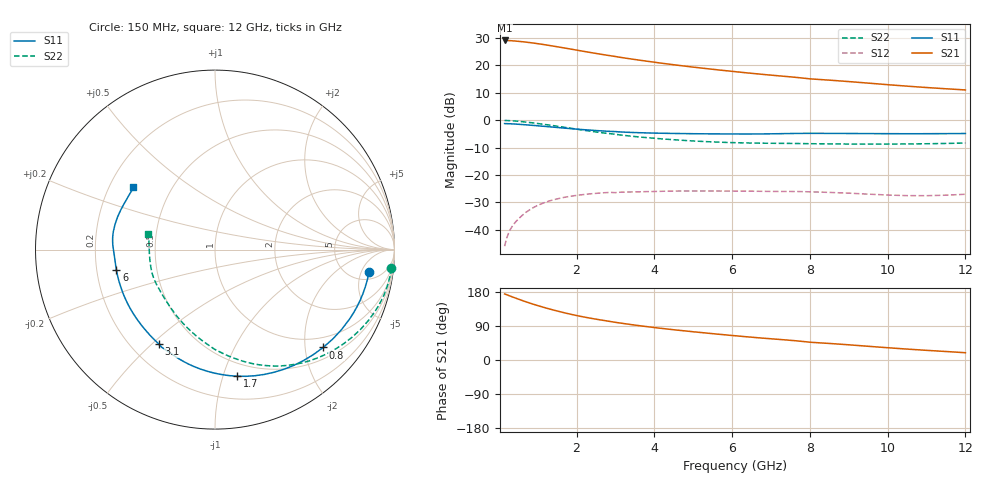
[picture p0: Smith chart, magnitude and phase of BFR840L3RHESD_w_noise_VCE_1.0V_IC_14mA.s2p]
! Infineon Technologies  Discrete & RF Semiconductors
! BFR840L3RHESD
! VCE =  1.0 V,  IC =  14 mA
! Common Emitter S-Parameters:  Jun 2012
# GHz  S  MA  R  50
!  f  S11  S21  S12  S22
! GHz  MAG  ANG  MAG  ANG  MAG  ANG  MAG  ANG
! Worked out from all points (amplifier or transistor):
!   91 points, 150 MHz to 12 GHz, reference 50 ohm
!   highest |S21| = 29.1 dB at 150 MHz (marker M1)
!   |S21| within 3 dB of that: start of sweep to 1.789 GHz
!   unconditionally stable (mu >= 1): 7.853 GHz to end of sweep
!   at 1.3 GHz: K = 0.15, MSG = 28.4 dB, |S12| = -29.5 dB
!   at 4.3 GHz: K = 0.50, MSG = 23.3 dB, |S12| = -25.9 dB
!   at 12 GHz: K = 1.91, MAG = 13.6 dB, |S12| = -27.1 dB
!   lowest NFmin = 0.86 dB at 450 MHz
!   S11 on the Smith chart (normalised r, x): 150 MHz: 6.84, -6.99; 800 MHz: 0.75, -2.40; 1.7 GHz: 0.38, -1.12; 3.1 GHz: 0.31, -0.53; 6 GHz: 0.28, -0.10; 12 GHz: 0.30, +0.31
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0.15  0.8672 -8.4  28.64 174.3  0.005 87.0  0.9887 -6.0
0.3  0.8599 -16.7  28.36 168.5  0.0102 82.8  0.9798 -12.7
0.45  0.8484 -24.6  27.84 162.7  0.0143 75.3  0.9632 -19.0
0.6  0.8341 -32.3  27.18 157.1  0.0182 69.6  0.9413 -24.9
0.8  0.8128 -42.1  26.16 150.1  0.0232 64.3  0.9073 -32.4
1  0.7908 -51.4  25.03 143.6  0.0278 60.2  0.8707 -39.5
1.2  0.769 -60.2  23.83 137.6  0.0317 56.1  0.8334 -46.2
1.4  0.7476 -68.5  22.61 132.0  0.0351 51.7  0.7959 -52.5
1.7  0.7164 -80.0  20.79 124.3  0.0392 45.3  0.7403 -61.2
1.9  0.6968 -87.1  19.64 119.6  0.0414 42.0  0.7043 -66.5
2.2  0.6704 -97.0  18.03 113.3  0.044 38.6  0.6539 -74.0
2.6  0.6409 -108.2  16.15 106.0  0.0467 34.5  0.5973 -82.8
3.1  0.6118 -120.8  14.16 97.9  0.0483 29.0  0.5398 -92.7
3.6  0.5917 -131.4  12.55 90.8  0.0492 25.4  0.4953 -101.5
4.2  0.5779 -142.3  10.98 83.3  0.0503 22.4  0.4557 -111.1
5  0.5669 -154.9  9.336 74.5  0.051 18.8  0.418 -123.0
6  0.561 -168.1  7.81 64.7  0.0508 15.7  0.3901 -136.6
6.1  0.5606 -169.3  7.68 63.8  0.0507 15.4  0.3883 -137.9
8  0.5752 169.6  5.693 46.9  0.0492 12.5  0.3722 -162.3
8.5  0.5743 165.6  5.396 43.7  0.048 12.2  0.3694 -166.7
10.5  0.5665 150.3  4.189 28.8  0.0419 16.8  0.3683 175.9
12  0.5717 142.7  3.573 19.2  0.0444 26.2  0.3829 166.9
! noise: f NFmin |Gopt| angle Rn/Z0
0.45  0.86  0.2  6  0.14
0.9  0.9  0.2  11  0.14
1.9  0.92  0.21  33  0.14
3.5  0.92  0.22  57  0.13
4  0.94  0.22  64  0.13
5.5  0.96  0.24  80  0.12
7  1.01  0.25  99  0.12
8  1.07  0.25  111  0.11
10  1.16  0.24  129  0.11
12  1.28  0.24  167  0.11
